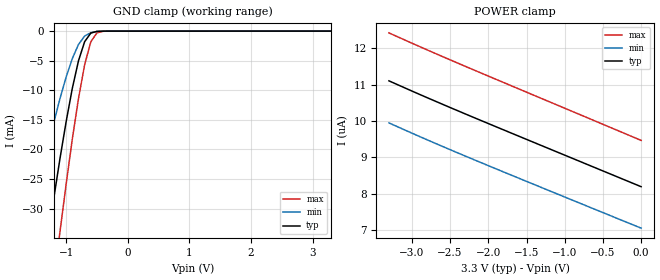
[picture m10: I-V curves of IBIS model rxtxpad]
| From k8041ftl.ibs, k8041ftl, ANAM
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|   Model rxtxpad
[Model]   rxtxpad
Model_type   Input
Polarity   Non-Inverting
Vinl =   0.8V
Vinh =   2.0V
C_comp   1.01e-12F   1.01e-12F   1.01e-12F
[Temperature Range]   25   125   0
[Voltage Range]   3.30V   3.00V   3.60V
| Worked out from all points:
|   GND clamp passes 1 mA (typ) near -0.65 V on its own axis
[POWER_clamp]
| voltage   I(typ)   I(min)   I(max)
-3.3V     11.1uA     9.949uA    12.42uA
-2.8V     10.64uA    9.484uA    11.95uA
-2.2V     10.11uA    8.949uA    11.41uA
0V        8.196uA    7.058uA    9.468uA
[GND_clamp]
| voltage   I(typ)   I(min)   I(max)
-3.3V     -183.4mA   -129.9mA   -214mA
-1.6V     -57.46mA   -34.32mA   -76.82mA
-1.3V     -35.24mA   -19.81mA   -50.76mA
-1.2V     -28.23mA   -15.45mA   -42.23mA
-1.1V     -21.54mA   -11.4mA    -33.9mA
-900mV    -9.669mA   -4.633mA   -18.25mA
-800mV    -5.016mA   -2.256mA   -11.4mA
-700mV    -1.777mA   -830.2uA   -5.677mA
-600mV    -332.4uA   -255.4uA   -1.809mA
-500mV    -34.1uA    -53.36uA   -278.9uA
-400mV    -3.218uA   -4.779uA   -22.78uA
3.3V      8.196uA    7.314uA    9.202uA
